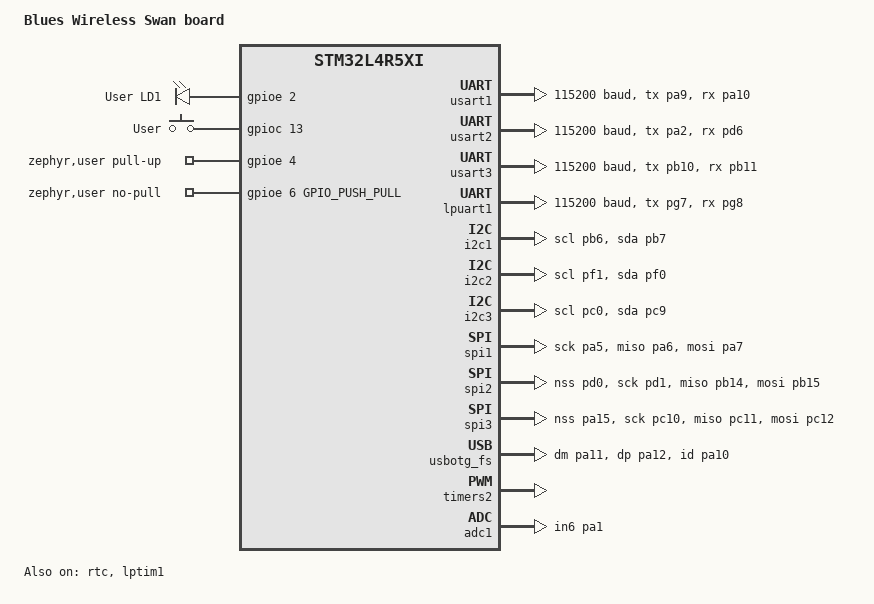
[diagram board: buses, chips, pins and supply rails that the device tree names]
/*
 * Copyright (c) 2022 Blues Inc.
 *
 * SPDX-License-Identifier: Apache-2.0
 */

/dts-v1/;
#include <st/l4/stm32l4r5Xi.dtsi>
#include <st/l4/stm32l4r5z(g-i)tx-pinctrl.dtsi>
#include "feather_connector.dtsi"

/ {
	model = "Blues Wireless Swan board";
	compatible = "blues,swan-r5";

	chosen {
		zephyr,console = &lpuart1;
		zephyr,shell-uart = &lpuart1;
		zephyr,sram = &sram0;
		zephyr,flash = &flash0;
	};

	leds {
		compatible = "gpio-leds";
		led0: led_0 {
			gpios = <&gpioe 2 GPIO_ACTIVE_HIGH>;
			label = "User LD1";
		};
	};

	gpio_keys {
		compatible = "gpio-keys";
		user_button: button {
			label = "User";
			gpios = <&gpioc 13 GPIO_ACTIVE_HIGH>;
		};
	};

	zephyr,user {
		pull-up-gpios = <&gpioe 4 GPIO_PULL_UP>;
		no-pull-gpios = <&gpioe 6 GPIO_PUSH_PULL>;
	};

	aliases {
		led0 = &led0;
		sw0 = &user_button;
	};
};

&clk_hsi {
	status = "okay";
};

&pll {
	div-m = <4>;
	mul-n = <40>;
	div-p = <7>;
	div-q = <2>;
	div-r = <2>;
	clocks = <&clk_hsi>;
	status = "okay";
};

&rcc {
	clocks = <&pll>;
	clock-frequency = <DT_FREQ_M(80)>;
	ahb-prescaler = <1>;
	apb1-prescaler = <1>;
	apb2-prescaler = <1>;
};

&usart1 {
	pinctrl-0 = <&usart1_tx_pa9 &usart1_rx_pa10>;
	pinctrl-names = "default";
	current-speed = <115200>;
	status = "okay";
};

&usart2 {
	pinctrl-0 = <&usart2_tx_pa2 &usart2_rx_pd6>;
	pinctrl-names = "default";
	current-speed = <115200>;
	status = "okay";
};

&usart3 {
	pinctrl-0 = <&usart3_tx_pb10 &usart3_rx_pb11>;
	pinctrl-names = "default";
	current-speed = <115200>;
	status = "okay";
};

&lpuart1 {
	pinctrl-0 = <&lpuart1_tx_pg7 &lpuart1_rx_pg8>;
	pinctrl-names = "default";
	current-speed = <115200>;
	status = "okay";
};

&i2c1 {
	pinctrl-0 = <&i2c1_scl_pb6 &i2c1_sda_pb7>;
	pinctrl-names = "default";
	status = "okay";
};

&i2c2 {
	pinctrl-0 = <&i2c2_scl_pf1 &i2c2_sda_pf0>;
	pinctrl-names = "default";
	status = "okay";
};

&i2c3 {
	pinctrl-0 = <&i2c3_scl_pc0 &i2c3_sda_pc9>;
	pinctrl-names = "default";
	status = "okay";
};

&spi1 {
	pinctrl-0 = <&spi1_sck_pa5 &spi1_miso_pa6 &spi1_mosi_pa7>;
	pinctrl-names = "default";
	cs-gpios = <&gpioa 4 (GPIO_ACTIVE_LOW | GPIO_PULL_UP)>;
	status = "okay";
};

&spi2 {
	pinctrl-0 = <&spi2_nss_pd0 &spi2_sck_pd1
		     &spi2_miso_pb14 &spi2_mosi_pb15>;
	pinctrl-names = "default";
	status = "okay";
};

&spi3 {
	pinctrl-0 = <&spi3_nss_pa15 &spi3_sck_pc10
		     &spi3_miso_pc11 &spi3_mosi_pc12>;
	pinctrl-names = "default";
	status = "okay";
};

zephyr_udc0: &usbotg_fs {
	pinctrl-0 = <&usb_otg_fs_dm_pa11 &usb_otg_fs_dp_pa12
		     &usb_otg_fs_id_pa10>;
	pinctrl-names = "default";
	status = "okay";
};

&timers2 {
	status = "okay";

	pwm2: pwm {
		status = "okay";
		pinctrl-0 = <&tim2_ch1_pa0>;
		pinctrl-names = "default";
	};
};

&rtc {
	status = "okay";
};

&lptim1 {
	status = "okay";
};

&flash0 {
	partitions {
		compatible = "fixed-partitions";
		#address-cells = <1>;
		#size-cells = <1>;

		/* Reserve last 16KiB for property storage */
		storage_partition: partition@1FB000 {
			label = "storage";
			reg = <0x001FB000 0x00004000>;
		};
	};
};

&adc1 {
	pinctrl-0 = <&adc1_in6_pa1>;
	pinctrl-names = "default";
	status = "okay";
};
